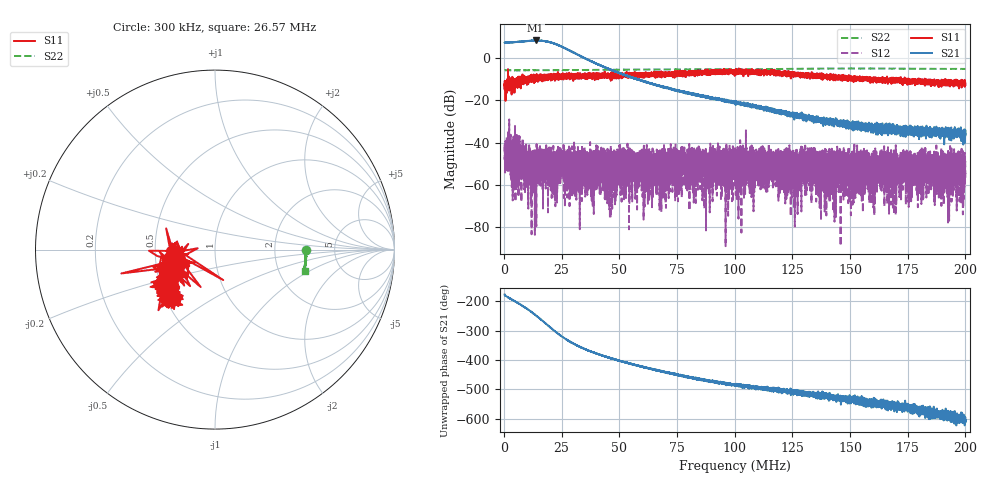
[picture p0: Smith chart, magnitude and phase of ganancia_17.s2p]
# Hz S DB R 50
! CMT, M5065, 19127446, 24.2.4/2
! Date: 11/8/2024 5:40:03 PM
! Data: Format (Calibration Info)
! Freq	S11:dB/Ang(F2)	S21:dB/Ang(F2)	S12:dB/Ang(F2)	S22:dB/Ang(F2)
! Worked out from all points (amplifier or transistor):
!   9000 points, 300 kHz to 200 MHz, reference 50 ohm
!   highest |S21| = 8.2 dB at 13.75 MHz (marker M1)
!   |S21| within 3 dB of that: start of sweep to 25.15 MHz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
!   unconditionally stable (mu >= 1): start of sweep to end of sweep
!   at 33.59 MHz: K = 186.29, MAG = 2.4 dB, |S12| = -55.7 dB
!   at 100.2 MHz: K = 526.89, MAG = -19.0 dB, |S12| = -43.9 dB
!   at 200 MHz: K = 11053.99, MAG = -34.4 dB, |S12| = -54.3 dB
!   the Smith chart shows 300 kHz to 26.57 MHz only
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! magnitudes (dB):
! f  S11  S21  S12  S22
! 300 kHz  -12.5  7.2  -40.9  -5.9
! 5.692 MHz  -10.8  7.4  -50.8  -5.9
! 13.75 MHz  -8.7  8.2  -63.0  -5.9
! 19.25 MHz  -8.1  7.6  -50.8  -5.9
! 22.09 MHz  -10.8  6.6  -54.9  -5.8
! 24.2 MHz  -8.2  5.7  -56.6  -5.8
! 33.59 MHz  -9.3  0.5  -55.7  -5.7
! 41.46 MHz  -8.8  -3.5  -60.6  -5.7
! 46.68 MHz  -7.9  -5.7  -52.5  -5.7
! 49.41 MHz  -7.3  -6.9  -58.2  -5.6
! 57.73 MHz  -8.3  -10.2  -62.0  -5.6
! 59.82 MHz  -8.3  -10.8  -46.5  -5.6
! 60.68 MHz  -8.0  -11.2  -53.0  -5.6
! 66.87 MHz  -7.3  -13.1  -45.5  -5.5
! 83.56 MHz  -8.0  -17.7  -59.3  -5.5
! 97.05 MHz  -5.8  -20.3  -49.9  -5.4
! 100.2 MHz  -7.0  -21.5  -43.9  -5.4
! 133.4 MHz  -8.7  -28.5  -48.5  -5.2
! 142.3 MHz  -8.9  -31.9  -53.3  -5.1
! 144.8 MHz  -8.5  -31.3  -45.8  -5.1
! 166.7 MHz  -10.5  -31.8  -56.7  -5.1
! 200 MHz  -12.8  -36.1  -54.3  -5.3
